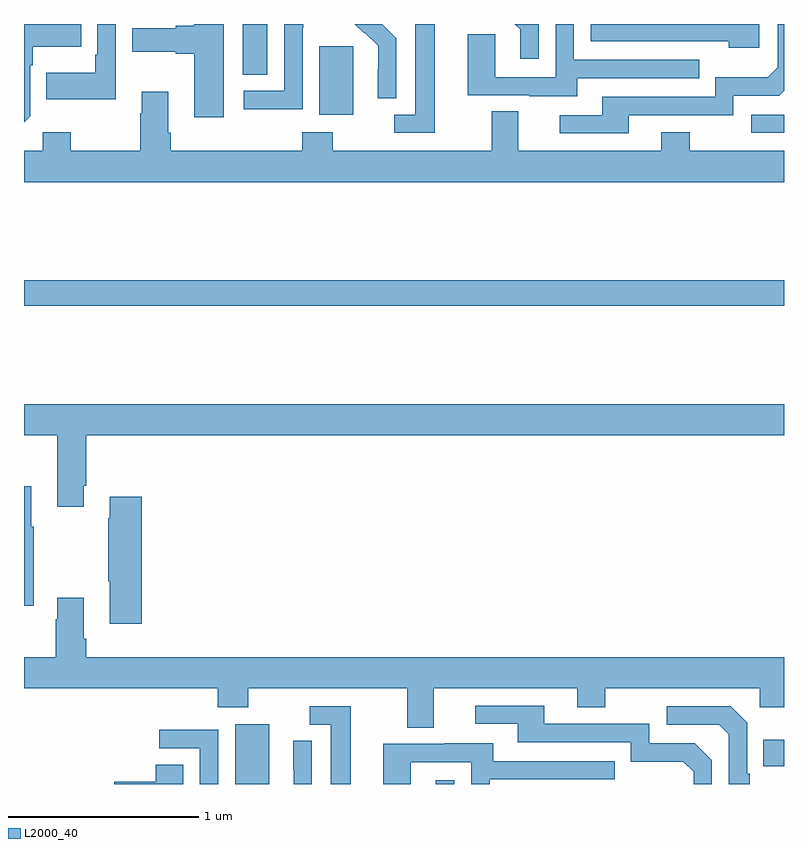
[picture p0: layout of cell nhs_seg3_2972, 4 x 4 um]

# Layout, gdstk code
import gdstk
lib = gdstk.Library(unit=1e-6, precision=1e-09)
def R(c, l, rs):  # rectangles x0, y0, x1, y1
    for r in rs: c.add(gdstk.rectangle(r[:2], r[2:], *l))
def P(c, l, *ps):  # polygons
    for p in ps: c.add(gdstk.Polygon(p, *l))
L2000_40 = (2000, 40)

nhs_seg3_2972 = lib.new_cell('nhs_seg3_2972')
R(nhs_seg3_2972, L2000_40, [(266.111,712.4,266.29,712.714), (267.167,712.4,267.264,712.42), (268.891,712.493,269,712.633), (265,714.916,269,715.052), (268.827,715.827,269,715.923), (266.555,715.922,266.734,716.283), (266.15,716.134,266.281,716.4)])
P(nhs_seg3_2972, L2000_40, [(268.87,716.4),(267.984,716.4),(267.984,716.31),(268.709,716.31),(268.709,716.276),(268.87,716.276)],
  [(265.482,716.4),(265.386,716.4),(265.386,716.239),(265.374,716.239),(265.374,716.143),(265.117,716.143),(265.117,716.003),(265.482,716.003)],
  [(265.032,715.914),(265.032,716.183),(265.045,716.183),(265.045,716.279),(265.301,716.279),(265.301,716.4),(265,716.4),(265,715.882)],
  [(267.708,716.4),(267.584,716.4),(267.611,716.373),(267.611,716.217),(267.708,716.217)],
  [(267.163,716.4),(267.059,716.4),(267.059,715.923),(266.949,715.923),(266.949,715.827),(267.163,715.827)],
  [(266.05,716.4),(265.895,716.4),(265.895,716.39),(265.799,716.39),(265.799,716.377),(265.569,716.377),(265.569,716.255),(265.799,716.255),(265.799,716.243),(265.895,716.243),(265.895,715.908),(266.05,715.908)],
  [(267.913,716.115),(268.553,716.115),(268.553,716.211),(267.894,716.211),(267.894,716.4),(267.798,716.4),(267.798,716.121),(267.48,716.121),(267.48,716.345),(267.335,716.345),(267.335,716.025),(267.659,716.025),(267.659,716.021),(267.913,716.021)],
  [(268.183,715.92),(268.734,715.92),(268.734,716.022),(268.974,716.022),(269,716.048),(269,716.4),(268.968,716.4),(268.968,716.172),(268.915,716.119),(268.638,716.119),(268.638,716.016),(268.043,716.016),(268.043,715.92),(267.819,715.92),(267.819,715.824),(268.183,715.824)],
  [(266.466,716.38),(266.469,716.38),(266.469,716.4),(266.37,716.4),(266.37,716.049),(266.157,716.049),(266.157,715.951),(266.466,715.951)],
  [(266.958,716.326),(266.885,716.399),(266.886,716.4),(266.742,716.4),(266.79,716.352),(266.793,716.355),(266.864,716.285),(266.864,716.162),(266.862,716.162),(266.862,716.008),(266.958,716.008)],
  [(269,715.732),(268.503,715.732),(268.503,715.831),(268.355,715.831),(268.355,715.732),(267.601,715.732),(267.601,715.94),(267.461,715.94),(267.461,715.732),(266.625,715.732),(266.625,715.831),(266.465,715.831),(266.465,715.732),(265.772,715.732),(265.772,715.828),(265.759,715.828),(265.759,716.044),(265.619,716.044),(265.619,715.931),(265.612,715.931),(265.612,715.732),(265.245,715.732),(265.245,715.831),(265.098,715.831),(265.098,715.732),(265,715.732),(265,715.568),(269,715.568)],
  [(265.315,713.971),(265.328,713.971),(265.328,714.236),(269,714.236),(269,714.4),(265,714.4),(265,714.236),(265.175,714.236),(265.175,713.859),(265.315,713.859)],
  [(265.051,713.755),(265.039,713.755),(265.039,713.968),(265,713.968),(265,713.339),(265.051,713.339)],
  [(265.619,713.911),(265.451,713.911),(265.451,713.798),(265.444,713.798),(265.444,713.467),(265.451,713.467),(265.451,713.244),(265.619,713.244)],
  [(267.157,712.904),(267.911,712.904),(267.911,712.805),(268.059,712.805),(268.059,712.904),(268.872,712.904),(268.872,712.805),(269,712.805),(269,713.068),(265.328,713.068),(265.328,713.164),(265.315,713.164),(265.315,713.38),(265.175,713.38),(265.175,713.267),(265.168,713.267),(265.168,713.068),(265,713.068),(265,712.904),(266.021,712.904),(266.021,712.805),(266.181,712.805),(266.181,712.904),(267.017,712.904),(267.017,712.696),(267.157,712.696)],
  [(268.62,712.524),(268.53,712.614),(268.29,712.614),(268.29,712.716),(267.739,712.716),(267.739,712.812),(267.375,712.812),(267.375,712.716),(267.599,712.716),(267.599,712.62),(268.194,712.62),(268.194,712.517),(268.471,712.517),(268.524,712.464),(268.524,712.4),(268.62,712.4)],
  [(266.719,712.809),(266.505,712.809),(266.505,712.713),(266.615,712.713),(266.615,712.4),(266.719,712.4)],
  [(268.819,712.453),(268.806,712.453),(268.806,712.722),(268.719,712.809),(268.383,712.809),(268.383,712.713),(268.659,712.713),(268.71,712.662),(268.71,712.4),(268.819,712.4)],
  [(266.022,712.686),(265.713,712.686),(265.713,712.587),(265.926,712.587),(265.926,712.4),(266.022,712.4)],
  [(266.514,712.628),(266.418,712.628),(266.418,712.474),(266.42,712.474),(266.42,712.4),(266.514,712.4)],
  [(267.036,712.515),(267.354,712.515),(267.354,712.4),(267.45,712.4),(267.45,712.425),(268.109,712.425),(268.109,712.521),(267.469,712.521),(267.469,712.615),(267.215,712.615),(267.215,712.611),(266.891,712.611),(266.891,712.4),(267.036,712.4)],
  [(265.837,712.502),(265.694,712.502),(265.694,712.412),(265.476,712.412),(265.476,712.4),(265.837,712.4)])

lib.write_gds('nhs_seg3_2972.gds')
